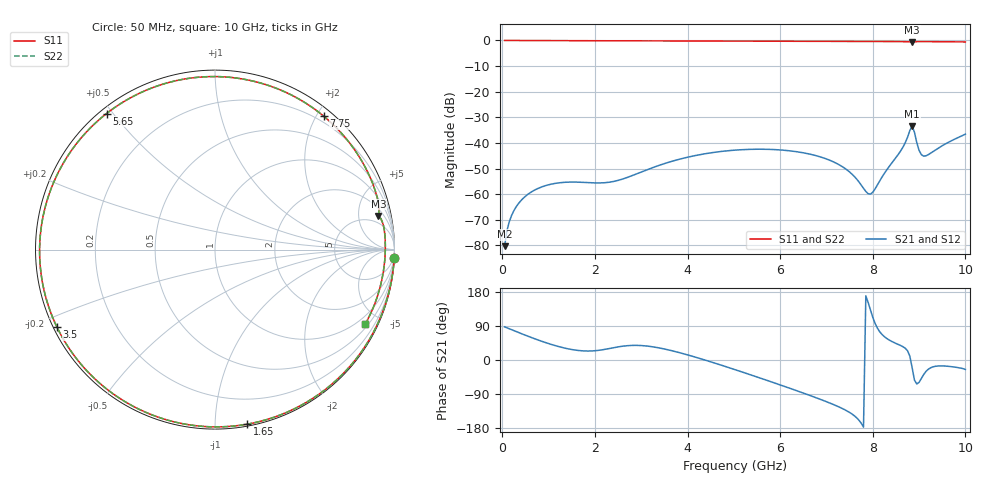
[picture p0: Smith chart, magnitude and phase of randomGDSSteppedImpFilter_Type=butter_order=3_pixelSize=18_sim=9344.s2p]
! freq	dB(S11)	phase(S11)	dB(S12)	phase(S12)
!  dB(S21)	phase(S21)	dB(S22)	phase(S22)
!S-par simulation data
#  GHz  S  DB  R 50
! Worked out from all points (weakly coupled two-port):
!   200 points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, 50 MHz to 10 GHz, reference 50 ohm
!   highest |S21| = -33.40 dB at 8.85 GHz (marker M1); lowest = -80.3 dB at 50 MHz (marker M2)
!   lowest |S11| = -0.6 dB at 8.85 GHz (marker M3), VSWR 27.20, Z = 158 + j433 ohm
!   |S11| at or under -10 dB: nowhere
!   |S22| runs from -0.6 to 0.0 dB; largest |S21 - S12| = 0
!   S11 on the Smith chart (normalised r, x): 50 MHz: 0, -45; 1.65 GHz: 0.01, -1.20; 3.5 GHz: 0.01, -0.23; 5.65 GHz: 0.02, +0.48; 7.75 GHz: 0.11, +2.10; 10 GHz: 0.63, -4.17
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0.05  -0.00 -2.6  -80.31 87.5  -80.31 87.5  -0.00 -2.6
0.2  -0.01 -10.1  -68.35 80.0  -68.35 80.0  -0.01 -10.1
0.5  -0.04 -25.1  -60.82 65.3  -60.82 65.3  -0.04 -25.1
1  -0.06 -49.5  -56.34 43.3  -56.34 43.3  -0.06 -49.5
1.65  -0.10 -79.5  -55.33 25.0  -55.33 25.0  -0.10 -79.5
1.75  -0.10 -84.0  -55.41 24.0  -55.41 24.0  -0.10 -83.9
2.5  -0.13 -115.5  -54.63 34.6  -54.63 34.6  -0.13 -115.5
3.4  -0.17 -150.2  -48.68 31.6  -48.68 31.6  -0.17 -150.2
3.5  -0.17 -153.9  -48.08 29.1  -48.08 29.1  -0.17 -153.9
4.25  -0.20 178.8  -44.64 4.6  -44.64 4.6  -0.20 178.9
5.05  -0.24 150.2  -42.78 -26.4  -42.78 -26.4  -0.24 150.2
5.65  -0.27 128.6  -42.47 -51.0  -42.47 -51.0  -0.27 128.6
6.7  -0.32 89.9  -44.63 -96.1  -44.63 -96.1  -0.32 89.9
7.35  -0.35 65.7  -49.35 -128.4  -49.35 -128.4  -0.35 65.7
7.75  -0.36 50.8  -56.41 -166.7  -56.41 -166.7  -0.36 50.8
7.95  -0.38 43.4  -59.97 131.9  -59.97 131.9  -0.38 43.4
8.35  -0.40 28.8  -49.31 53.1  -49.31 53.1  -0.40 28.8
8.65  -0.45 17.9  -41.71 35.2  -41.71 35.2  -0.45 17.9
8.85  -0.64 11.7  -33.40 -20.2  -33.40 -20.2  -0.63 11.7
9  -0.45 6.7  -42.91 -58.9  -42.91 -58.9  -0.45 6.6
9.1  -0.45 3.1  -45.16 -38.3  -45.16 -38.3  -0.45 3.0
10  -0.59 -26.4  -36.58 -24.9  -36.58 -24.9  -0.59 -26.5
